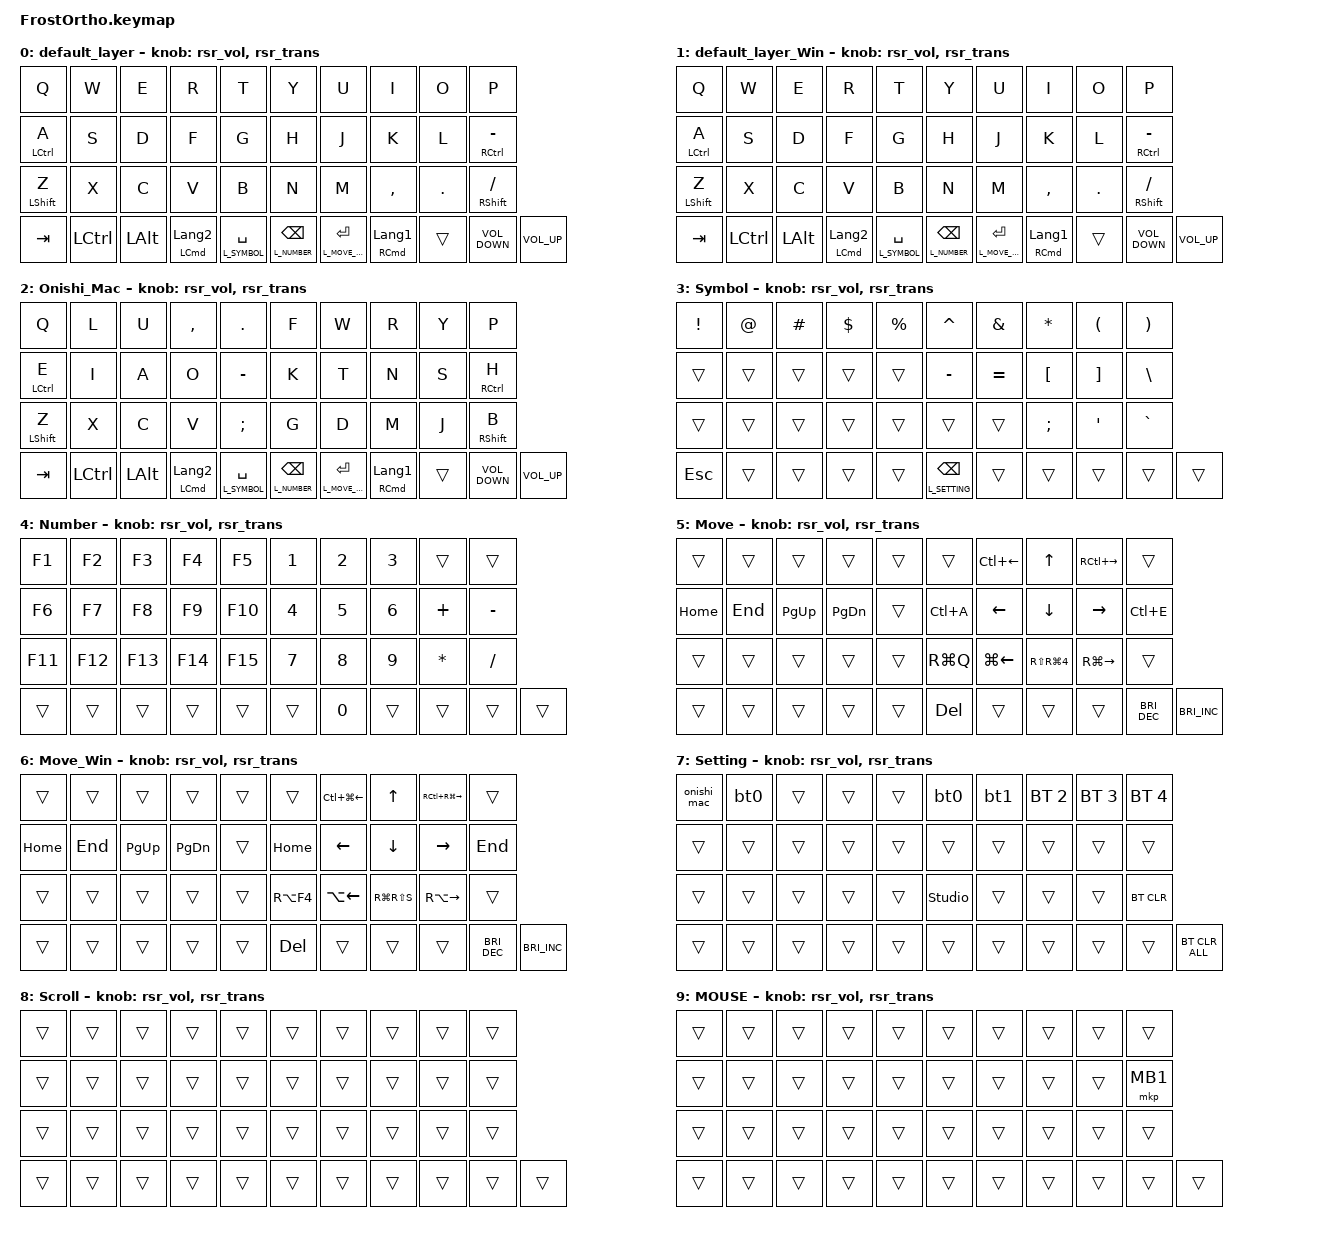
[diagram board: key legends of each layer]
#include <input/processors.dtsi>
#include <behaviors/runtime-sensor-rotate.dtsi>
#include <behaviors.dtsi>
#include <dt-bindings/zmk/bt.h>
#include <dt-bindings/zmk/keys.h>
#include <dt-bindings/zmk/pointing.h>

// Layer order must match the keymap child-node order below.
#define L_BASE_MAC 0
#define L_BASE_WIN 1
#define L_BASE_ONISHI 2
#define L_SYMBOL 3
#define L_NUMBER 4
#define L_MOVE_MAC 5
#define L_MOVE_WIN 6
#define L_SETTING 7
#define L_SCROLL 8
#define L_MOUSE 9

&mt {
    flavor = "balanced";
    quick-tap-ms = <0>;
};

&lt {
    flavor = "tap-preferred";
    tapping-term-ms = <200>;
    quick-tap-ms = <175>;
};

// AML クリックしたときにタイムアウトを延長

&mkp_input_listener { input-processors = <&zip_temp_layer L_MOUSE 10000>; };

// Physical trackball routing is defined in FrostOrtho_R.overlay.
// Keep its Mouse=9 and Scroll=8 aligned with L_MOUSE and L_SCROLL here.

// Position 19 is this keymap's left button; 17+18 / 18+19 are combos.
// Keep AML active while clicking/dragging or holding the combo keys.
&zip_temp_layer {
    excluded-positions = <17 18 19 20 29 30 31 32>;
};


/ {
    combos {
        compatible = "zmk,combos";

        Scroll {
            bindings = <&lt L_SCROLL A>;
            key-positions = <17 18>;
        };

        Right_Click {
            bindings = <&mkp MB2>;
            key-positions = <18 19>;
        };
    };

    macros {
        exit_symbol: exit_symbol {
            compatible = "zmk,behavior-macro-one-param";
            #binding-cells = <1>;
            bindings = <&tog_off L_SYMBOL &macro_param_1to1 &kp MACRO_PLACEHOLDER>;
            label = "EXIT_SYMBOL";
        };

        bt0: bt0 {
            compatible = "zmk,behavior-macro";
            #binding-cells = <0>;
            bindings =
                <&to L_BASE_MAC>,
                <&macro_wait_time 200>,
                <&bt BT_SEL 0>,
                <&macro_wait_time 500>,
                <&to L_BASE_MAC>;

            label = "BT0";
        };

        // Select Bluetooth profile 0 (Mac) and the Onishi base.
        onishi_mac: onishi_mac {
            compatible = "zmk,behavior-macro";
            #binding-cells = <0>;
            bindings =
                <&to L_BASE_MAC>,
                <&macro_wait_time 200>,
                <&bt BT_SEL 0>,
                <&macro_wait_time 500>,
                <&to L_BASE_ONISHI>;

            label = "ONISHI_MAC";
        };

        bt1: bt1 {
            compatible = "zmk,behavior-macro";
            #binding-cells = <0>;
            bindings =
                <&to L_BASE_MAC>,
                <&macro_wait_time 200>,
                <&bt BT_SEL 1>,
                <&macro_wait_time 500>,
                <&to L_BASE_WIN>;

            label = "BT1";
        };
    };

    behaviors {
        lt_exit_symbol: lt_exit_symbol {
            compatible = "zmk,behavior-hold-tap";
            label = "LAYER_TAP_EXIT_SYMBOL";
            bindings = <&mo>, <&exit_symbol>;

            #binding-cells = <2>;
            tapping-term-ms = <300>;
        };

        // トグルレイヤーをON/OFFで指定できるように変更

        tog_on: toggle_layer_on_only {
            compatible = "zmk,behavior-toggle-layer";
            #binding-cells = <1>;
            display-name = "Toggle Layer On";
            toggle-mode = "on";
        };

        tog_off: toggle_layer_off_only {
            compatible = "zmk,behavior-toggle-layer";
            #binding-cells = <1>;
            display-name = "Toggle Layer Off";
            toggle-mode = "off";
        };

        // Kyemap Editor用

        scroll_up_down: behavior_sensor_rotate_mouse_wheel_up_down {
            compatible = "zmk,behavior-sensor-rotate";
            #sensor-binding-cells = <0>;
            tap-ms = <20>;
            bindings = <&msc SCRL_UP>, <&msc SCRL_DOWN>;
        };

        vol_up_down: vol_up_down {
            compatible = "zmk,behavior-sensor-rotate";
            #sensor-binding-cells = <0>;
            tap-ms = <5>;
            bindings = <&kp C_VOL_DN>, <&kp C_VOL_UP>;
        };

        // DYA Studio用

        rsr_vol: rsr_vol {
            compatible = "zmk,behavior-runtime-sensor-rotate";
            #sensor-binding-cells = <0>;
            tap-ms = <5>;
            cw-binding = <&kp C_VOL_DN>;
            ccw-binding = <&kp C_VOL_UP>;
        };
    };

    keymap {
        compatible = "zmk,keymap";

        default_layer {
            bindings = <
&kp Q             &kp W             &kp E         &kp R                        &kp T                             &kp Y        &kp U                         &kp I      &kp O              &kp P
&mt LCTRL A       &kp S             &kp D         &kp F                        &kp G                             &kp H        &kp J                         &kp K      &kp L              &mt RCTRL MINUS
&mt LEFT_SHIFT Z  &kp X             &kp C         &kp V                        &kp B                             &kp N        &kp M                         &kp COMMA  &kp PERIOD         &mt RIGHT_SHIFT SLASH
&kp TAB           &kp LEFT_CONTROL  &kp LEFT_ALT  &mt LEFT_COMMAND LANGUAGE_2  &lt L_SYMBOL SPACE  &lt L_NUMBER BACKSPACE      &lt L_MOVE_MAC ENTER  &mt RIGHT_COMMAND LANGUAGE_1  &trans     &kp C_VOLUME_DOWN  &kp C_VOLUME_UP
            >;

            sensor-bindings = <&rsr_vol &rsr_trans>;
        };

        default_layer_Win {
            bindings = <
&kp Q             &kp W             &kp E         &kp R                        &kp T                             &kp Y        &kp U                         &kp I      &kp O              &kp P
&mt LCTRL A       &kp S             &kp D         &kp F                        &kp G                             &kp H        &kp J                         &kp K      &kp L              &mt RCTRL MINUS
&mt LEFT_SHIFT Z  &kp X             &kp C         &kp V                        &kp B                             &kp N        &kp M                         &kp COMMA  &kp PERIOD         &mt RIGHT_SHIFT SLASH
&kp TAB           &kp LEFT_CONTROL  &kp LEFT_ALT  &mt LEFT_COMMAND LANGUAGE_2  &lt L_SYMBOL SPACE  &lt L_NUMBER BACKSPACE      &lt L_MOVE_WIN ENTER  &mt RIGHT_COMMAND LANGUAGE_1  &trans     &kp C_VOLUME_DOWN  &kp C_VOLUME_UP
            >;

            sensor-bindings = <&rsr_vol &rsr_trans>;
        };

        Onishi_Mac {
            bindings = <
&kp Q  &kp L  &kp U  &kp COMMA  &kp PERIOD  &kp F  &kp W  &kp R  &kp Y  &kp P
&mt LCTRL E  &kp I  &kp A  &kp O  &kp MINUS  &kp K  &kp T  &kp N  &kp S  &mt RCTRL H
&mt LEFT_SHIFT Z  &kp X  &kp C  &kp V  &kp SEMICOLON  &kp G  &kp D  &kp M  &kp J  &mt RIGHT_SHIFT B
&kp TAB           &kp LEFT_CONTROL  &kp LEFT_ALT  &mt LEFT_COMMAND LANGUAGE_2  &lt L_SYMBOL SPACE  &lt L_NUMBER BACKSPACE      &lt L_MOVE_MAC ENTER  &mt RIGHT_COMMAND LANGUAGE_1  &trans     &kp C_VOLUME_DOWN  &kp C_VOLUME_UP
            >;

            sensor-bindings = <&rsr_vol &rsr_trans>;
        };

        Symbol {
            bindings = <
&kp EXCLAMATION  &kp AT_SIGN  &kp HASH  &kp DOLLAR  &kp PERCENT                                  &kp CARET  &kp AMPERSAND  &kp ASTERISK      &kp LEFT_PARENTHESIS  &kp RIGHT_PARENTHESIS
&trans           &trans       &trans    &trans      &trans                                       &kp MINUS  &kp EQUAL      &kp LEFT_BRACKET  &kp RIGHT_BRACKET     &kp BACKSLASH
&trans           &trans       &trans    &trans      &trans                                       &trans     &trans         &kp SEMICOLON     &kp SQT               &kp GRAVE
&kp ESCAPE       &trans       &trans    &trans      &trans       &lt_exit_symbol L_SETTING BACKSPACE      &trans     &trans         &trans            &trans                &trans
            >;

            sensor-bindings = <&rsr_vol &rsr_trans>;
        };

        Number {
            bindings = <
&kp F1   &kp F2   &kp F3   &kp F4   &kp F5               &kp NUMBER_1  &kp NUMBER_2  &kp NUMBER_3  &trans        &trans
&kp F6   &kp F7   &kp F8   &kp F9   &kp F10              &kp NUMBER_4  &kp N5        &kp NUMBER_6  &kp PLUS      &kp MINUS
&kp F11  &kp F12  &kp F13  &kp F14  &kp F15              &kp N7        &kp NUMBER_8  &kp NUMBER_9  &kp ASTERISK  &kp SLASH
&trans   &trans   &trans   &trans   &trans   &trans      &kp NUMBER_0  &trans        &trans        &trans        &trans
            >;

            sensor-bindings = <&rsr_vol &rsr_trans>;
        };

        Move {
            bindings = <
&trans    &trans   &trans       &trans         &trans                  &trans     &kp LC(LEFT_ARROW)  &kp UP_ARROW          &kp RC(RIGHT_ARROW)   &trans
&kp HOME  &kp END  &kp PAGE_UP  &kp PAGE_DOWN  &trans                  &kp LC(A)  &kp LEFT_ARROW      &kp DOWN_ARROW        &kp RIGHT_ARROW       &kp LC(E)
&trans    &trans   &trans       &trans         &trans                  &kp RG(Q)  &kp LG(LEFT_ARROW)  &kp RS(RG(NUMBER_4))  &kp RG(RIGHT_ARROW)   &trans
&trans    &trans   &trans       &trans         &trans  &kp DELETE      &trans     &trans              &trans                &kp C_BRIGHTNESS_DEC  &kp C_BRIGHTNESS_INC
            >;

            sensor-bindings = <&rsr_vol &rsr_trans>;
        };

        Move_Win {
            bindings = <
&trans    &trans   &trans       &trans         &trans                  &trans      &kp LC(LG(LEFT_ARROW))  &kp UP_ARROW    &kp RC(RG(RIGHT_ARROW))  &trans
&kp HOME  &kp END  &kp PAGE_UP  &kp PAGE_DOWN  &trans                  &kp HOME    &kp LEFT_ARROW          &kp DOWN_ARROW  &kp RIGHT_ARROW          &kp END
&trans    &trans   &trans       &trans         &trans                  &kp RA(F4)  &kp LA(LEFT_ARROW)      &kp RG(RS(S))   &kp RA(RIGHT_ARROW)      &trans
&trans    &trans   &trans       &trans         &trans  &kp DELETE      &trans      &trans                  &trans          &kp C_BRIGHTNESS_DEC     &kp C_BRIGHTNESS_INC
            >;

            sensor-bindings = <&rsr_vol &rsr_trans>;
        };

        Setting {
            // Top-left: Mac Onishi / Mac QWERTY (both select BT profile 0).
            bindings = <
&onishi_mac  &bt0  &trans  &trans  &trans              &bt0            &bt1    &bt BT_SEL 2  &bt BT_SEL 3  &bt BT_SEL 4
&trans  &trans  &trans  &trans  &trans              &trans          &trans  &trans        &trans        &trans
&trans  &trans  &trans  &trans  &trans              &studio_unlock  &trans  &trans        &trans        &bt BT_CLR
&trans  &trans  &trans  &trans  &trans  &trans      &trans          &trans  &trans        &trans        &bt BT_CLR_ALL
            >;

            sensor-bindings = <&rsr_vol &rsr_trans>;
        };

        Scroll {
            bindings = <
&trans  &trans  &trans  &trans  &trans              &trans  &trans  &trans  &trans  &trans
&trans  &trans  &trans  &trans  &trans              &trans  &trans  &trans  &trans  &trans
&trans  &trans  &trans  &trans  &trans              &trans  &trans  &trans  &trans  &trans
&trans  &trans  &trans  &trans  &trans  &trans      &trans  &trans  &trans  &trans  &trans
            >;

            sensor-bindings = <&rsr_vol &rsr_trans>;
        };

        MOUSE {
            bindings = <
&trans  &trans  &trans  &trans  &trans              &trans  &trans  &trans  &trans  &trans
&trans  &trans  &trans  &trans  &trans              &trans  &trans  &trans  &trans  &mkp MB1
&trans  &trans  &trans  &trans  &trans              &trans  &trans  &trans  &trans  &trans
&trans  &trans  &trans  &trans  &trans  &trans      &trans  &trans  &trans  &trans  &trans
            >;

            sensor-bindings = <&rsr_vol &rsr_trans>;
        };
    };
};
